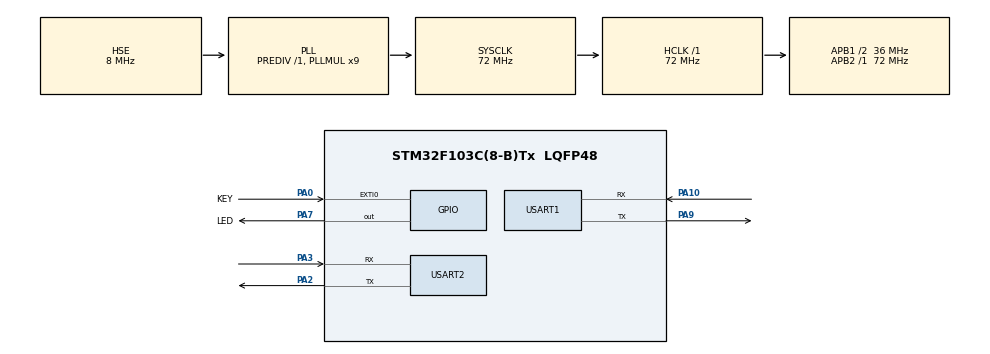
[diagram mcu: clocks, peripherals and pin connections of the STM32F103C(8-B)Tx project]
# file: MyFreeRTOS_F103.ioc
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FREERTOS.Tasks01=defaultTask,24,128,StartDefaultTask,Default,NULL,Dynamic,NULL,NULL
Mcu.Family=STM32F1
Mcu.Name=STM32F103C(8-B)Tx
Mcu.Package=LQFP48
NVIC.EXTI0_IRQn=true\:5\:0\:true\:false\:true\:false\:true\:true\:true
NVIC.PriorityGroup=NVIC_PRIORITYGROUP_4
NVIC.TIM1_UP_IRQn=true\:15\:0\:false\:false\:true\:false\:false\:true\:true
NVIC.TimeBase=TIM1_UP_IRQn
NVIC.TimeBaseIP=TIM1
NVIC.USART2_IRQn=true\:5\:0\:true\:false\:true\:true\:true\:true\:true
PA0-WKUP.GPIO_Label=KEY
PA0-WKUP.Signal=GPXTI0
PA10.Mode=Asynchronous
PA10.Signal=USART1_RX
PA13.Mode=Serial_Wire
PA13.Signal=SYS_JTMS-SWDIO
PA14.Mode=Serial_Wire
PA14.Signal=SYS_JTCK-SWCLK
PA2.Mode=Asynchronous
PA2.Signal=USART2_TX
PA3.Mode=Asynchronous
PA3.Signal=USART2_RX
PA7.GPIO_Label=LED
PA7.Signal=GPIO_Output
PA9.Mode=Asynchronous
PA9.Signal=USART1_TX
PD0-OSC_IN.Mode=HSE-External-Oscillator
PD0-OSC_IN.Signal=RCC_OSC_IN
PD1-OSC_OUT.Mode=HSE-External-Oscillator
PD1-OSC_OUT.Signal=RCC_OSC_OUT
ProjectManager.HeapSize=0x200
ProjectManager.StackSize=0x400
ProjectManager.TargetToolchain=MDK-ARM V5.32
RCC.AHBFreq_Value=72000000
RCC.APB1CLKDivider=RCC_HCLK_DIV2
RCC.APB1Freq_Value=36000000
RCC.APB1TimFreq_Value=72000000
RCC.APB2Freq_Value=72000000
RCC.APB2TimFreq_Value=72000000
RCC.HCLKFreq_Value=72000000
RCC.PLLMUL=RCC_PLL_MUL9
RCC.PLLSourceVirtual=RCC_PLLSOURCE_HSE
RCC.SYSCLKFreq_VALUE=72000000
RCC.SYSCLKSource=RCC_SYSCLKSOURCE_PLLCLK
RCC.USBFreq_Value=72000000
USART1.VirtualMode=VM_ASYNC
USART2.VirtualMode=VM_ASYNC
VP_FREERTOS_VS_CMSIS_V2.Mode=CMSIS_V2
VP_SYS_VS_tim1.Mode=TIM1
board=custom

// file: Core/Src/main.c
/* USER CODE BEGIN Header */
/**
  ******************************************************************************
  * @file           : main.c
  * @brief          : Main program body
  ******************************************************************************
  * @attention
  *
  * Copyright (c) 2024 STMicroelectronics.
  * All rights reserved.
  *
  * This software is licensed under terms that can be found in the LICENSE file
  * in the root directory of this software component.
  * If no LICENSE file comes with this software, it is provided AS-IS.
  *
  ******************************************************************************
  */
/* USER CODE END Header */
#include "main.h"
#include "cmsis_os.h"
#include "usart.h"
#include "gpio.h"
#include "driver_usart.h"
#include "ring_buffer.h"

void SystemClock_Config(void);
void MX_FREERTOS_Init(void);

/* USER CODE BEGIN 0 */
ring_buffer test_buffer;
ring_buffer uart2_buffer;
void USART2_Write(char *buf, int len);
/* USER CODE END 0 */

int main(void)
{

  /* MCU Configuration--------------------------------------------------------*/

  /* Reset of all peripherals, Initializes the Flash interface and the Systick. */
  HAL_Init();

  /* Configure the system clock */
  SystemClock_Config();

  /* Initialize all configured peripherals */
  MX_GPIO_Init();
  MX_USART1_UART_Init();
  MX_USART2_UART_Init();
  /* USER CODE BEGIN 2 */
  ring_buffer_init(&test_buffer);
  ring_buffer_init(&uart2_buffer);

  EnableDebugIRQ();
  EnableUART2IRQ();
  printf("Hello World!\r\n");
  /* USER CODE END 2 */

  /* Init scheduler */
  osKernelInitialize();

  /* Call init function for freertos objects (in cmsis_os2.c) */
  MX_FREERTOS_Init();

  /* Start scheduler */
//  osKernelStart();

  /* We should never get here as control is now taken by the scheduler */

  /* Infinite loop */
  /* USER CODE BEGIN WHILE */
  USART2_Write("AT\r\n", 4);
  while (1)
  {
    /* USER CODE END WHILE */

  }
}

void SystemClock_Config(void)
{
  RCC_OscInitTypeDef RCC_OscInitStruct = {0};
  RCC_ClkInitTypeDef RCC_ClkInitStruct = {0};

  /** Initializes the RCC Oscillators according to the specified parameters
  * in the RCC_OscInitTypeDef structure.
  */
  RCC_OscInitStruct.OscillatorType = RCC_OSCILLATORTYPE_HSE;
  RCC_OscInitStruct.HSEState = RCC_HSE_ON;
  RCC_OscInitStruct.HSEPredivValue = RCC_HSE_PREDIV_DIV1;
  RCC_OscInitStruct.HSIState = RCC_HSI_ON;
  RCC_OscInitStruct.PLL.PLLState = RCC_PLL_ON;
  RCC_OscInitStruct.PLL.PLLSource = RCC_PLLSOURCE_HSE;
  RCC_OscInitStruct.PLL.PLLMUL = RCC_PLL_MUL9;
  if (HAL_RCC_OscConfig(&RCC_OscInitStruct) != HAL_OK)
  {
    Error_Handler();
  }

  /** Initializes the CPU, AHB and APB buses clocks
  */
  RCC_ClkInitStruct.ClockType = RCC_CLOCKTYPE_HCLK|RCC_CLOCKTYPE_SYSCLK
                              |RCC_CLOCKTYPE_PCLK1|RCC_CLOCKTYPE_PCLK2;
  RCC_ClkInitStruct.SYSCLKSource = RCC_SYSCLKSOURCE_PLLCLK;
  RCC_ClkInitStruct.AHBCLKDivider = RCC_SYSCLK_DIV1;
  RCC_ClkInitStruct.APB1CLKDivider = RCC_HCLK_DIV2;
  RCC_ClkInitStruct.APB2CLKDivider = RCC_HCLK_DIV1;

  if (HAL_RCC_ClockConfig(&RCC_ClkInitStruct, FLASH_LATENCY_2) != HAL_OK)
  {
    Error_Handler();
  }
}

/* USER CODE BEGIN 4 */
void USART2_IRQHandler(void)
{
  // 读取 UART3 的状态寄存器 (SR) 和控制寄存器1 (CR1)
  uint32_t isrflags = READ_REG(huart2.Instance->SR);
  uint32_t cr1its = READ_REG(huart2.Instance->CR1);
  char c;

  // 检查是否发生接收数据寄存器非空中断
  if (((isrflags & USART_SR_RXNE) != RESET) && ((cr1its & USART_CR1_RXNEIE) != RESET))
  {
    // 从 UART 数据寄存器读取一个字符
    c = huart2.Instance->DR;

    // 将字符写入环形缓冲区
    ring_buffer_write(c, &uart2_buffer);

    // 中断处理完成，返回
    return;
  }
}

void USART2_Write(char *buf, int len)
{
  int i = 0;
  while (i < len)
  {
    // 等待发送数据寄存器空 (TXE) 标志位被置位
    while ((huart2.Instance->SR & USART_SR_TXE) == 0);

    // 将当前字符写入数据寄存器 (DR)，开始发送
    huart2.Instance->DR = buf[i];

    // 移动到下一个字符
    i++;
  }
}

/* USER CODE END 4 */

void HAL_TIM_PeriodElapsedCallback(TIM_HandleTypeDef *htim)
{
  if (htim->Instance == TIM1) {
    HAL_IncTick();
  }
}

void Error_Handler(void)
{
  __disable_irq();
  while (1)
  {
  }
}
